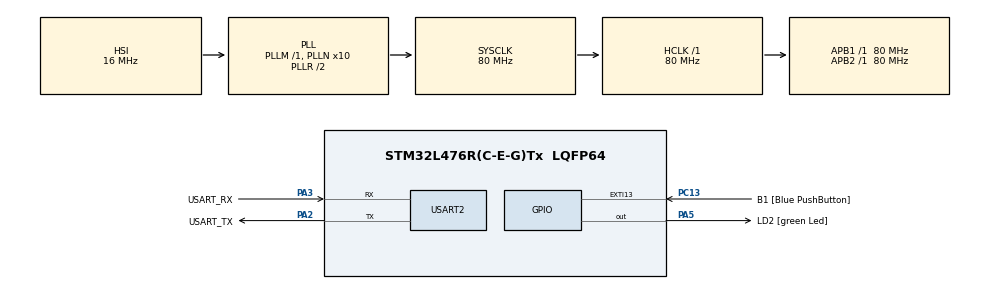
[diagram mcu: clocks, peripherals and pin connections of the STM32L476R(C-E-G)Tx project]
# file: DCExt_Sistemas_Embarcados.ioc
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Mcu.Family=STM32L4
Mcu.Name=STM32L476R(C-E-G)Tx
Mcu.Package=LQFP64
NVIC.EXTI15_10_IRQn=true\:0\:0\:false\:false\:true\:true\:true\:true
NVIC.PriorityGroup=NVIC_PRIORITYGROUP_4
PA13\ (JTMS-SWDIO).GPIO_Label=TMS
PA13\ (JTMS-SWDIO).Mode=Serial_Wire
PA13\ (JTMS-SWDIO).Signal=SYS_JTMS-SWDIO
PA14\ (JTCK-SWCLK).GPIO_Label=TCK
PA14\ (JTCK-SWCLK).Mode=Serial_Wire
PA14\ (JTCK-SWCLK).Signal=SYS_JTCK-SWCLK
PA2.GPIO_Label=USART_TX
PA2.GPIO_Mode=GPIO_MODE_AF_PP
PA2.GPIO_PuPd=GPIO_NOPULL
PA2.GPIO_Speed=GPIO_SPEED_FREQ_VERY_HIGH
PA2.Mode=Asynchronous
PA2.Signal=USART2_TX
PA3.GPIO_Label=USART_RX
PA3.GPIO_Mode=GPIO_MODE_AF_PP
PA3.GPIO_PuPd=GPIO_NOPULL
PA3.GPIO_Speed=GPIO_SPEED_FREQ_VERY_HIGH
PA3.Mode=Asynchronous
PA3.Signal=USART2_RX
PA5.GPIO_Label=LD2 [green Led]
PA5.GPIO_ModeDefaultOutputPP=GPIO_MODE_OUTPUT_PP
PA5.GPIO_PuPd=GPIO_NOPULL
PA5.GPIO_Speed=GPIO_SPEED_FREQ_LOW
PA5.Signal=GPIO_Output
PB3\ (JTDO-TRACESWO).GPIO_Label=SWO
PB3\ (JTDO-TRACESWO).Signal=SYS_JTDO-SWO
PC13.GPIO_Label=B1 [Blue PushButton]
PC13.GPIO_ModeDefaultEXTI=GPIO_MODE_IT_FALLING
PC13.GPIO_PuPd=GPIO_NOPULL
PC13.Signal=GPXTI13
PC14-OSC32_IN\ (PC14).Mode=LSE-External-Oscillator
PC14-OSC32_IN\ (PC14).Signal=RCC_OSC32_IN
PC15-OSC32_OUT\ (PC15).Mode=LSE-External-Oscillator
PC15-OSC32_OUT\ (PC15).Signal=RCC_OSC32_OUT
PH0-OSC_IN\ (PH0).Signal=RCC_OSC_IN
PH1-OSC_OUT\ (PH1).Signal=RCC_OSC_OUT
ProjectManager.HeapSize=0x200
ProjectManager.StackSize=0x400
ProjectManager.TargetToolchain=STM32CubeIDE
RCC.ADCFreq_Value=64000000
RCC.AHBFreq_Value=80000000
RCC.APB1Freq_Value=80000000
RCC.APB1TimFreq_Value=80000000
RCC.APB2Freq_Value=80000000
RCC.APB2TimFreq_Value=80000000
RCC.CortexFreq_Value=80000000
RCC.HCLKFreq_Value=80000000
RCC.HSE_VALUE=8000000
RCC.HSI_VALUE=16000000
RCC.MSI_VALUE=4000000
RCC.PLLN=10
RCC.PLLSourceVirtual=RCC_PLLSOURCE_HSI
RCC.PREFETCH_ENABLE=1
RCC.SYSCLKFreq_VALUE=80000000
RCC.SYSCLKSource=RCC_SYSCLKSOURCE_PLLCLK
RCC.USBFreq_Value=64000000
RCC.VCOOutputFreq_Value=160000000
USART2.VirtualMode-Asynchronous=VM_ASYNC
board=NUCLEO-L476RG

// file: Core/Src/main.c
/* USER CODE BEGIN Header */
/**
  ******************************************************************************
  * @file           : main.c
  * @brief          : Main program body
  ******************************************************************************
  * @attention
  *
  * Copyright (c) 2025 STMicroelectronics.
  * All rights reserved.
  *
  * This software is licensed under terms that can be found in the LICENSE file
  * in the root directory of this software component.
  * If no LICENSE file comes with this software, it is provided AS-IS.
  *
  ******************************************************************************
  */
/* USER CODE END Header */
#include "main.h"

UART_HandleTypeDef huart2;

/* USER CODE BEGIN PV */
uint32_t freq = 1;
/* USER CODE END PV */

void SystemClock_Config(void);
static void MX_GPIO_Init(void);
static void MX_USART2_UART_Init(void);

int main(void)
{

  /* MCU Configuration--------------------------------------------------------*/

  /* Reset of all peripherals, Initializes the Flash interface and the Systick. */
  HAL_Init();

  /* Configure the system clock */
  SystemClock_Config();

  /* Initialize all configured peripherals */
  MX_GPIO_Init();
  MX_USART2_UART_Init();

  /* Infinite loop */
  /* USER CODE BEGIN WHILE */
  void software_pwm(uint16_t frequency, uint8_t duty_cycle)
    {
  	  uint32_t period_ms = 1000 / frequency;
  	  uint32_t on_time = (period_ms * duty_cycle) / 100;
  	  uint32_t off_time = period_ms - on_time;
  	  HAL_GPIO_WritePin(GPIOA, LD2_Pin, GPIO_PIN_SET);
  	  HAL_Delay(on_time);
  	  HAL_GPIO_WritePin(GPIOA, LD2_Pin, GPIO_PIN_RESET);
  	  HAL_Delay(off_time);
    }
    while (1)
    {
  	  software_pwm(freq, 50);
      /* USER CODE END WHILE */

    }
}

void SystemClock_Config(void)
{
  RCC_OscInitTypeDef RCC_OscInitStruct = {0};
  RCC_ClkInitTypeDef RCC_ClkInitStruct = {0};

  /** Configure the main internal regulator output voltage
  */
  if (HAL_PWREx_ControlVoltageScaling(PWR_REGULATOR_VOLTAGE_SCALE1) != HAL_OK)
  {
    Error_Handler();
  }

  /** Initializes the RCC Oscillators according to the specified parameters
  * in the RCC_OscInitTypeDef structure.
  */
  RCC_OscInitStruct.OscillatorType = RCC_OSCILLATORTYPE_HSI;
  RCC_OscInitStruct.HSIState = RCC_HSI_ON;
  RCC_OscInitStruct.HSICalibrationValue = RCC_HSICALIBRATION_DEFAULT;
  RCC_OscInitStruct.PLL.PLLState = RCC_PLL_ON;
  RCC_OscInitStruct.PLL.PLLSource = RCC_PLLSOURCE_HSI;
  RCC_OscInitStruct.PLL.PLLM = 1;
  RCC_OscInitStruct.PLL.PLLN = 10;
  RCC_OscInitStruct.PLL.PLLP = RCC_PLLP_DIV7;
  RCC_OscInitStruct.PLL.PLLQ = RCC_PLLQ_DIV2;
  RCC_OscInitStruct.PLL.PLLR = RCC_PLLR_DIV2;
  if (HAL_RCC_OscConfig(&RCC_OscInitStruct) != HAL_OK)
  {
    Error_Handler();
  }

  /** Initializes the CPU, AHB and APB buses clocks
  */
  RCC_ClkInitStruct.ClockType = RCC_CLOCKTYPE_HCLK|RCC_CLOCKTYPE_SYSCLK
                              |RCC_CLOCKTYPE_PCLK1|RCC_CLOCKTYPE_PCLK2;
  RCC_ClkInitStruct.SYSCLKSource = RCC_SYSCLKSOURCE_PLLCLK;
  RCC_ClkInitStruct.AHBCLKDivider = RCC_SYSCLK_DIV1;
  RCC_ClkInitStruct.APB1CLKDivider = RCC_HCLK_DIV1;
  RCC_ClkInitStruct.APB2CLKDivider = RCC_HCLK_DIV1;

  if (HAL_RCC_ClockConfig(&RCC_ClkInitStruct, FLASH_LATENCY_4) != HAL_OK)
  {
    Error_Handler();
  }
}

static void MX_USART2_UART_Init(void)
{

  huart2.Instance = USART2;
  huart2.Init.BaudRate = 115200;
  huart2.Init.WordLength = UART_WORDLENGTH_8B;
  huart2.Init.StopBits = UART_STOPBITS_1;
  huart2.Init.Parity = UART_PARITY_NONE;
  huart2.Init.Mode = UART_MODE_TX_RX;
  huart2.Init.HwFlowCtl = UART_HWCONTROL_NONE;
  huart2.Init.OverSampling = UART_OVERSAMPLING_16;
  huart2.Init.OneBitSampling = UART_ONE_BIT_SAMPLE_DISABLE;
  huart2.AdvancedInit.AdvFeatureInit = UART_ADVFEATURE_NO_INIT;
  if (HAL_UART_Init(&huart2) != HAL_OK)
  {
    Error_Handler();
  }

}

static void MX_GPIO_Init(void)
{
  GPIO_InitTypeDef GPIO_InitStruct = {0};

  /* GPIO Ports Clock Enable */
  __HAL_RCC_GPIOC_CLK_ENABLE();
  __HAL_RCC_GPIOH_CLK_ENABLE();
  __HAL_RCC_GPIOA_CLK_ENABLE();
  __HAL_RCC_GPIOB_CLK_ENABLE();

  /*Configure GPIO pin Output Level */
  HAL_GPIO_WritePin(LD2_GPIO_Port, LD2_Pin, GPIO_PIN_RESET);

  /*Configure GPIO pin : B1_Pin */
  GPIO_InitStruct.Pin = B1_Pin;
  GPIO_InitStruct.Mode = GPIO_MODE_IT_FALLING;
  GPIO_InitStruct.Pull = GPIO_NOPULL;
  HAL_GPIO_Init(B1_GPIO_Port, &GPIO_InitStruct);

  /*Configure GPIO pin : LD2_Pin */
  GPIO_InitStruct.Pin = LD2_Pin;
  GPIO_InitStruct.Mode = GPIO_MODE_OUTPUT_PP;
  GPIO_InitStruct.Pull = GPIO_NOPULL;
  GPIO_InitStruct.Speed = GPIO_SPEED_FREQ_LOW;
  HAL_GPIO_Init(LD2_GPIO_Port, &GPIO_InitStruct);

  /* EXTI interrupt init*/
  HAL_NVIC_SetPriority(EXTI15_10_IRQn, 0, 0);
  HAL_NVIC_EnableIRQ(EXTI15_10_IRQn);

}

/* USER CODE BEGIN 4 */
void HAL_GPIO_EXTI_Callback(uint16_t GPIO_Pin)
{
	  if(GPIO_Pin == GPIO_PIN_13) {
		  freq*=10;
		  if(freq>=1000){
			  freq=1;
		  }
	  } else {
		  __NOP();
	  }
}
/* USER CODE END 4 */

void Error_Handler(void)
{
  __disable_irq();
  while (1)
  {
  }
}
